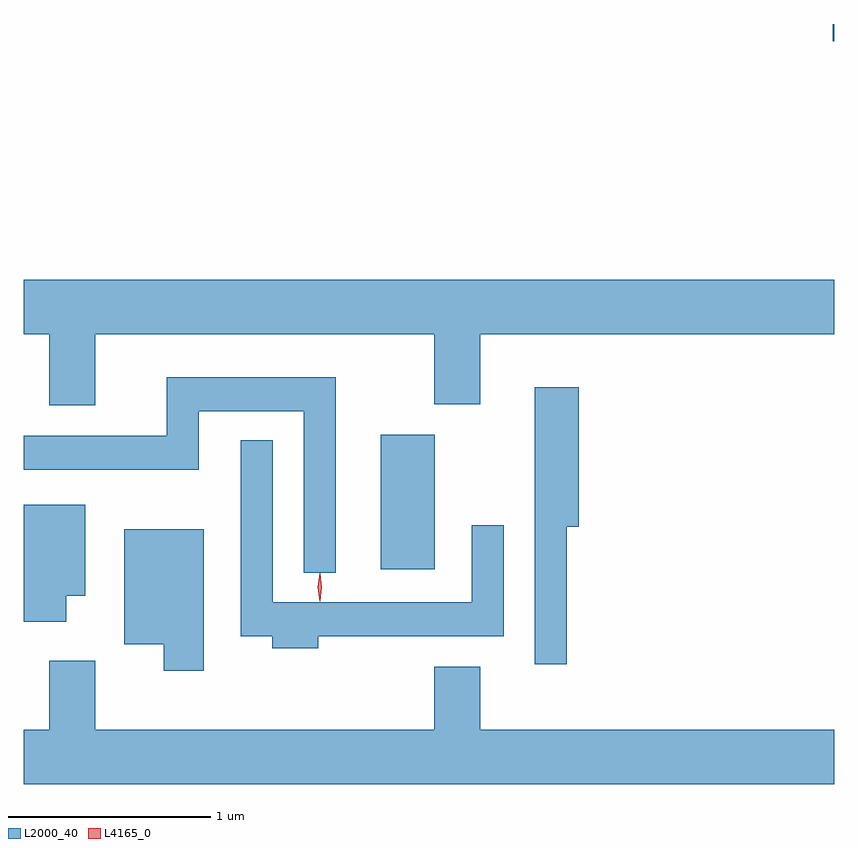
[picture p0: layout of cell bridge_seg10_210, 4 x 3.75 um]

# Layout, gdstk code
import gdstk
lib = gdstk.Library(unit=1e-6, precision=1e-09)
def R(c, l, rs):  # rectangles x0, y0, x1, y1
    for r in rs: c.add(gdstk.rectangle(r[:2], r[2:], *l))
def P(c, l, *ps):  # polygons
    for p in ps: c.add(gdstk.Polygon(p, *l))
L2000_40 = (2000, 40)
L4165_0 = (4165, 0)

bridge_seg10_210 = lib.new_cell('bridge_seg10_210')
R(bridge_seg10_210, L2000_40, [(1767.776,2094.996,1768.044,2095.659), (1770.006,2097.601,1770.015,2097.686)])
P(bridge_seg10_210, L2000_40, [(1766.369,2096.156),(1768.041,2096.156),(1768.041,2095.811),(1768.269,2095.811),(1768.269,2096.156),(1770.015,2096.156),(1770.015,2096.424),(1766.015,2096.424),(1766.015,2096.156),(1766.141,2096.156),(1766.141,2095.806),(1766.369,2095.806)],
  [(1767.554,2095.944),(1766.721,2095.944),(1766.721,2095.654),(1766.015,2095.654),(1766.015,2095.486),(1766.879,2095.486),(1766.879,2095.776),(1767.396,2095.776),(1767.396,2094.978),(1767.554,2094.978)],
  [(1768.694,2095.206),(1768.754,2095.206),(1768.754,2095.894),(1768.536,2095.894),(1768.536,2094.528),(1768.694,2094.528)],
  [(1767.469,2094.666),(1768.384,2094.666),(1768.384,2095.213),(1768.226,2095.213),(1768.226,2094.834),(1767.244,2094.834),(1767.244,2095.633),(1767.086,2095.633),(1767.086,2094.666),(1767.241,2094.666),(1767.241,2094.606),(1767.469,2094.606)],
  [(1766.224,2094.866),(1766.319,2094.866),(1766.319,2095.314),(1766.015,2095.314),(1766.015,2094.736),(1766.224,2094.736)],
  [(1766.904,2095.194),(1766.511,2095.194),(1766.511,2094.626),(1766.706,2094.626),(1766.706,2094.496),(1766.904,2094.496)],
  [(1770.015,2094.204),(1768.269,2094.204),(1768.269,2094.514),(1768.041,2094.514),(1768.041,2094.204),(1766.369,2094.204),(1766.369,2094.544),(1766.141,2094.544),(1766.141,2094.204),(1766.015,2094.204),(1766.015,2093.936),(1770.015,2093.936)])
P(bridge_seg10_210, L4165_0, [(1767.477,2094.839),(1767.477,2094.84),(1767.467,2094.906),(1767.477,2094.973),(1767.477,2094.973),(1767.478,2094.973),(1767.487,2094.906),(1767.478,2094.84)],
  [(1767.477,2094.837),(1767.477,2094.837),(1767.467,2094.907),(1767.477,2094.976),(1767.477,2094.976),(1767.478,2094.976),(1767.487,2094.907),(1767.478,2094.837)])

lib.write_gds('bridge_seg10_210.gds')
